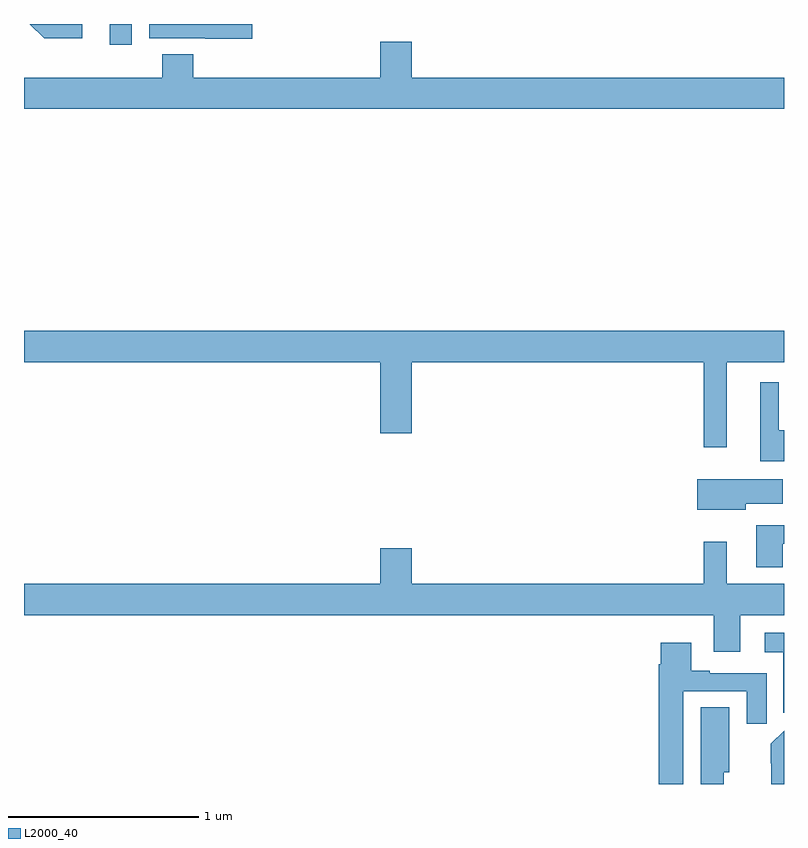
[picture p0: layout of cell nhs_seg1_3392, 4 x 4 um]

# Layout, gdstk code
import gdstk
lib = gdstk.Library(unit=1e-6, precision=1e-09)
def R(c, l, rs):  # rectangles x0, y0, x1, y1
    for r in rs: c.add(gdstk.rectangle(r[:2], r[2:], *l))
def P(c, l, *ps):  # polygons
    for p in ps: c.add(gdstk.Polygon(p, *l))
L2000_40 = (2000, 40)

nhs_seg1_3392 = lib.new_cell('nhs_seg1_3392')
R(nhs_seg1_3392, L2000_40, [(295.451,532.089,295.566,532.199)])
P(nhs_seg1_3392, L2000_40, [(295.306,532.199),(295.03,532.199),(295.106,532.124),(295.306,532.124)],
  [(296.2,532.199),(295.659,532.199),(295.659,532.125),(295.955,532.125),(295.955,532.121),(296.2,532.121)],
  [(299,531.916),(297.04,531.916),(297.04,532.105),(296.876,532.105),(296.876,531.916),(295.892,531.916),(295.892,532.04),(295.727,532.04),(295.727,531.916),(295,531.916),(295,531.752),(299,531.752)],
  [(298.699,530.42),(299,530.42),(299,530.584),(295,530.584),(295,530.42),(296.876,530.42),(296.876,530.046),(297.04,530.046),(297.04,530.42),(298.578,530.42),(298.578,529.971),(298.699,529.971)],
  [(299,530.062),(298.972,530.062),(298.972,530.314),(298.874,530.314),(298.874,529.898),(299,529.898)],
  [(298.798,529.675),(298.993,529.675),(298.993,529.804),(298.544,529.804),(298.544,529.643),(298.798,529.643)],
  [(298.993,529.463),(299,529.463),(299,529.561),(298.853,529.561),(298.853,529.341),(298.993,529.341)],
  [(298.771,529.088),(299,529.088),(299,529.252),(298.699,529.252),(298.699,529.474),(298.578,529.474),(298.578,529.252),(297.04,529.252),(297.04,529.441),(296.876,529.441),(296.876,529.252),(295,529.252),(295,529.088),(298.631,529.088),(298.631,528.894),(298.771,528.894)],
  [(299,528.994),(298.899,528.994),(298.899,528.893),(298.997,528.893),(298.997,528.574),(299,528.574)],
  [(298.471,528.687),(298.805,528.687),(298.805,528.516),(298.909,528.516),(298.909,528.783),(298.609,528.783),(298.609,528.796),(298.513,528.796),(298.513,528.943),(298.352,528.943),(298.352,528.83),(298.34,528.83),(298.34,528.199),(298.471,528.199)],
  [(298.684,528.261),(298.711,528.261),(298.711,528.602),(298.562,528.602),(298.562,528.199),(298.684,528.199)],
  [(299,528.479),(298.931,528.41),(298.931,528.308),(298.932,528.308),(298.932,528.199),(299,528.199)])

lib.write_gds('nhs_seg1_3392.gds')
